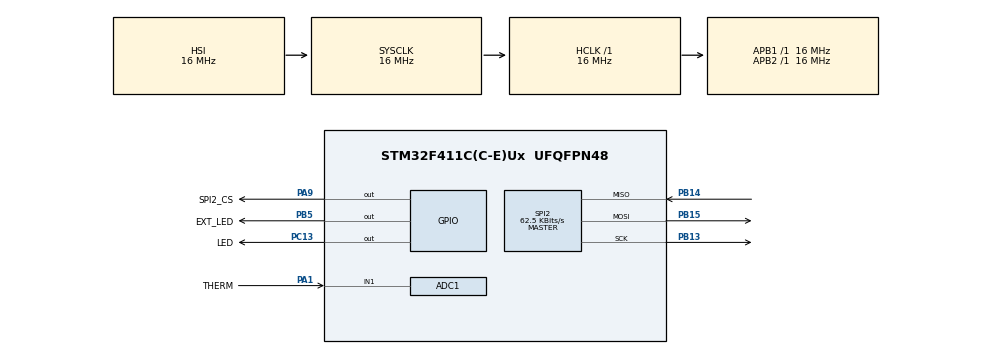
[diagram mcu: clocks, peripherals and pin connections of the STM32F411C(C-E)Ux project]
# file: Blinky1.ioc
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ADC1.Channel-0\#ChannelRegularConversion=ADC_CHANNEL_1
ADC1.NbrOfConversionFlag=1
ADC1.Rank-0\#ChannelRegularConversion=1
ADC1.SamplingTime-0\#ChannelRegularConversion=ADC_SAMPLETIME_3CYCLES
ADC1.master=1
Mcu.Family=STM32F4
Mcu.Name=STM32F411C(C-E)Ux
Mcu.Package=UFQFPN48
NVIC.PriorityGroup=NVIC_PRIORITYGROUP_4
PA1.GPIO_Label=THERM
PA1.Signal=ADCx_IN1
PA9.GPIO_Label=SPI2_CS
PA9.GPIO_PuPd=GPIO_PULLUP
PA9.PinState=GPIO_PIN_SET
PA9.Signal=GPIO_Output
PB13.Mode=Full_Duplex_Master
PB13.Signal=SPI2_SCK
PB14.GPIO_PuPd=GPIO_PULLUP
PB14.Mode=Full_Duplex_Master
PB14.Signal=SPI2_MISO
PB15.Mode=Full_Duplex_Master
PB15.Signal=SPI2_MOSI
PB5.GPIO_Label=EXT_LED
PB5.Signal=GPIO_Output
PC13-ANTI_TAMP.GPIO_Label=LED
PC13-ANTI_TAMP.Signal=GPIO_Output
ProjectManager.HeapSize=0x200
ProjectManager.StackSize=0x400
ProjectManager.TargetToolchain=CMake
RCC.AHBFreq_Value=16000000
RCC.APB1Freq_Value=16000000
RCC.APB2Freq_Value=16000000
RCC.CortexFreq_Value=16000000
RCC.HSE_VALUE=25000000
RCC.HSI_VALUE=16000000
RCC.LSE_VALUE=32768
RCC.SYSCLKFreq_VALUE=16000000
RCC.VCOOutputFreq_Value=192000000
SH.ADCx_IN1.0=ADC1_IN1,IN1
SPI2.BaudRatePrescaler=SPI_BAUDRATEPRESCALER_256
SPI2.CalculateBaudRate=62.5 KBits/s
SPI2.Direction=SPI_DIRECTION_2LINES
SPI2.Mode=SPI_MODE_MASTER
SPI2.VirtualType=VM_MASTER
VP_FATFS_VS_Generic.Mode=User_defined
board=custom

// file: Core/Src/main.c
/* USER CODE BEGIN Header */
/**
  ******************************************************************************
  * @file           : main.c
  * @brief          : Main program body
  ******************************************************************************
  * @attention
  *
  * Copyright (c) 2026 STMicroelectronics.
  * All rights reserved.
  *
  * This software is licensed under terms that can be found in the LICENSE file
  * in the root directory of this software component.
  * If no LICENSE file comes with this software, it is provided AS-IS.
  *
  ******************************************************************************
  */
/* USER CODE END Header */
#include "main.h"
#include "fatfs.h"

/* USER CODE BEGIN Includes */
#include <stdio.h>
#include "led_ext.h"
#include "thermistor.h"
extern void initialise_monitor_handles(void);

#include <stdio.h>
#include <string.h>
#include <stdarg.h>
/* USER CODE END Includes */

ADC_HandleTypeDef hadc1;

SPI_HandleTypeDef hspi2;

/* USER CODE BEGIN PV */
LedExt_HandleTypeDef extLed;
LedExt_HandleTypeDef onboardLed;
Thermistor_HandleTypeDef therm;

FATFS fs;           // Work area (file system object)
FIL fil;            // File object
FRESULT fresult;    // File function return code
UINT bw, br;        // File write/read byte counts
char read_buf[64];  // Buffer for reading back data

/* USER CODE END PV */

void SystemClock_Config(void);
static void MX_GPIO_Init(void);
static void MX_ADC1_Init(void);
static void MX_SPI2_Init(void);
/* USER CODE BEGIN PFP */
void myprintf(const char *fmt, ...);
/* USER CODE END PFP */

/* USER CODE BEGIN 0 */
void myprintf(const char *fmt, ...) {
  static char buffer[256];
  va_list args;
  va_start(args, fmt);
  vsnprintf(buffer, sizeof(buffer), fmt, args);
  va_end(args);

  printf("%s", buffer);
  fflush(stdout);
}
/* USER CODE END 0 */

int main(void)
{

  /* USER CODE BEGIN 1 */
  initialise_monitor_handles();
  /* USER CODE END 1 */

  /* MCU Configuration--------------------------------------------------------*/

  /* Reset of all peripherals, Initializes the Flash interface and the Systick. */
  HAL_Init();

  /* Configure the system clock */
  SystemClock_Config();

  /* Initialize all configured peripherals */
  MX_GPIO_Init();
  MX_ADC1_Init();
  MX_SPI2_Init();
  MX_FATFS_Init();
  /* USER CODE BEGIN 2 */
  LedExt_Init(&extLed, EXT_LED_GPIO_Port, EXT_LED_Pin, 250);   /* toggles every 250ms */
  LedExt_Init(&onboardLed, LED_GPIO_Port, LED_Pin, 500);       /* toggles every 500ms */
  //Thermistor_Init(&therm, &hadc1, 1000); /* read once per second */
  /* USER CODE END 2 */

  /* Infinite loop */
  /* USER CODE BEGIN WHILE */
  while (1)
  {
    //LedExt_Update(&extLed);
    //LedExt_Update(&onboardLed);
    //Thermistor_Update(&therm);
    HAL_GPIO_TogglePin(LED_GPIO_Port, LED_Pin);
    HAL_GPIO_TogglePin(EXT_LED_GPIO_Port, EXT_LED_Pin);
    printf("Hello World\n");
    HAL_Delay(1000);
    /* USER CODE END WHILE */

    /* USER CODE BEGIN 3 */
  myprintf("\r\n~ SD card demo by kiwih ~\r\n\r\n");

  HAL_Delay(1000); //a short delay is important to let the SD card settle

  //some variables for FatFs
  FATFS FatFs; 	//Fatfs handle
  FIL fil; 		//File handle
  FRESULT fres; //Result after operations

  //Open the file system
  fres = f_mount(&FatFs, "", 1); //1=mount now
  if (fres != FR_OK) {
    myprintf("f_mount error (%i)\r\n", fres);
    while(1);
  }

  //Let's get some statistics from the SD card
  DWORD free_clusters, free_sectors, total_sectors;

  FATFS* getFreeFs;

  fres = f_getfree("", &free_clusters, &getFreeFs);
  if (fres != FR_OK) {
  myprintf("f_getfree error (%i)\r\n", fres);
  while(1);
  }

  //Formula comes from ChaN's documentation
  total_sectors = (getFreeFs->n_fatent - 2) * getFreeFs->csize;
  free_sectors = free_clusters * getFreeFs->csize;

  myprintf("SD card stats:\r\n%10lu KiB total drive space.\r\n%10lu KiB available.\r\n", total_sectors / 2, free_sectors / 2);

  //Now let's try to open file "test.txt"
  fres = f_open(&fil, "test.txt", FA_READ);
  if (fres != FR_OK) {
  myprintf("f_open error (%i)\r\n", fres);
  while(1);
  }
  myprintf("I was able to open 'test.txt' for reading!\r\n");

  //Read 30 bytes from "test.txt" on the SD card
  BYTE readBuf[30];

  //We can either use f_read OR f_gets to get data out of files
  //f_gets is a wrapper on f_read that does some string formatting for us
  TCHAR* rres = f_gets((TCHAR*)readBuf, 30, &fil);
  if(rres != 0) {
  myprintf("Read string from 'test.txt' contents: %s\r\n", readBuf);
  } else {
  myprintf("f_gets error (%i)\r\n", fres);
  }

  //Be a tidy kiwi - don't forget to close your file!
  f_close(&fil);

  //We're done, so de-mount the drive
  f_mount(NULL, "", 0);
  /* USER CODE END 3 */
}
}
void SystemClock_Config(void)
{
  RCC_OscInitTypeDef RCC_OscInitStruct = {0};
  RCC_ClkInitTypeDef RCC_ClkInitStruct = {0};

  /** Configure the main internal regulator output voltage
  */
  __HAL_RCC_PWR_CLK_ENABLE();
  __HAL_PWR_VOLTAGESCALING_CONFIG(PWR_REGULATOR_VOLTAGE_SCALE1);

  /** Initializes the RCC Oscillators according to the specified parameters
  * in the RCC_OscInitTypeDef structure.
  */
  RCC_OscInitStruct.OscillatorType = RCC_OSCILLATORTYPE_HSI;
  RCC_OscInitStruct.HSIState = RCC_HSI_ON;
  RCC_OscInitStruct.HSICalibrationValue = RCC_HSICALIBRATION_DEFAULT;
  RCC_OscInitStruct.PLL.PLLState = RCC_PLL_NONE;
  if (HAL_RCC_OscConfig(&RCC_OscInitStruct) != HAL_OK)
  {
    Error_Handler();
  }

  /** Initializes the CPU, AHB and APB buses clocks
  */
  RCC_ClkInitStruct.ClockType = RCC_CLOCKTYPE_HCLK|RCC_CLOCKTYPE_SYSCLK
                              |RCC_CLOCKTYPE_PCLK1|RCC_CLOCKTYPE_PCLK2;
  RCC_ClkInitStruct.SYSCLKSource = RCC_SYSCLKSOURCE_HSI;
  RCC_ClkInitStruct.AHBCLKDivider = RCC_SYSCLK_DIV1;
  RCC_ClkInitStruct.APB1CLKDivider = RCC_HCLK_DIV1;
  RCC_ClkInitStruct.APB2CLKDivider = RCC_HCLK_DIV1;

  if (HAL_RCC_ClockConfig(&RCC_ClkInitStruct, FLASH_LATENCY_0) != HAL_OK)
  {
    Error_Handler();
  }
}

static void MX_ADC1_Init(void)
{

  ADC_ChannelConfTypeDef sConfig = {0};

  /** Configure the global features of the ADC (Clock, Resolution, Data Alignment and number of conversion)
  */
  hadc1.Instance = ADC1;
  hadc1.Init.ClockPrescaler = ADC_CLOCK_SYNC_PCLK_DIV2;
  hadc1.Init.Resolution = ADC_RESOLUTION_12B;
  hadc1.Init.ScanConvMode = DISABLE;
  hadc1.Init.ContinuousConvMode = DISABLE;
  hadc1.Init.DiscontinuousConvMode = DISABLE;
  hadc1.Init.ExternalTrigConvEdge = ADC_EXTERNALTRIGCONVEDGE_NONE;
  hadc1.Init.ExternalTrigConv = ADC_SOFTWARE_START;
  hadc1.Init.DataAlign = ADC_DATAALIGN_RIGHT;
  hadc1.Init.NbrOfConversion = 1;
  hadc1.Init.DMAContinuousRequests = DISABLE;
  hadc1.Init.EOCSelection = ADC_EOC_SINGLE_CONV;
  if (HAL_ADC_Init(&hadc1) != HAL_OK)
  {
    Error_Handler();
  }

  /** Configure for the selected ADC regular channel its corresponding rank in the sequencer and its sample time.
  */
  sConfig.Channel = ADC_CHANNEL_1;
  sConfig.Rank = 1;
  sConfig.SamplingTime = ADC_SAMPLETIME_3CYCLES;
  if (HAL_ADC_ConfigChannel(&hadc1, &sConfig) != HAL_OK)
  {
    Error_Handler();
  }

}

static void MX_SPI2_Init(void)
{

  /* SPI2 parameter configuration*/
  hspi2.Instance = SPI2;
  hspi2.Init.Mode = SPI_MODE_MASTER;
  hspi2.Init.Direction = SPI_DIRECTION_2LINES;
  hspi2.Init.DataSize = SPI_DATASIZE_8BIT;
  hspi2.Init.CLKPolarity = SPI_POLARITY_LOW;
  hspi2.Init.CLKPhase = SPI_PHASE_1EDGE;
  hspi2.Init.NSS = SPI_NSS_SOFT;
  hspi2.Init.BaudRatePrescaler = SPI_BAUDRATEPRESCALER_256;
  hspi2.Init.FirstBit = SPI_FIRSTBIT_MSB;
  hspi2.Init.TIMode = SPI_TIMODE_DISABLE;
  hspi2.Init.CRCCalculation = SPI_CRCCALCULATION_DISABLE;
  hspi2.Init.CRCPolynomial = 10;
  if (HAL_SPI_Init(&hspi2) != HAL_OK)
  {
    Error_Handler();
  }

}

static void MX_GPIO_Init(void)
{
  GPIO_InitTypeDef GPIO_InitStruct = {0};

  /* GPIO Ports Clock Enable */
  __HAL_RCC_GPIOC_CLK_ENABLE();
  __HAL_RCC_GPIOA_CLK_ENABLE();
  __HAL_RCC_GPIOB_CLK_ENABLE();

  /*Configure GPIO pin Output Level */
  HAL_GPIO_WritePin(LED_GPIO_Port, LED_Pin, GPIO_PIN_RESET);

  /*Configure GPIO pin Output Level */
  HAL_GPIO_WritePin(SPI2_CS_GPIO_Port, SPI2_CS_Pin, GPIO_PIN_SET);

  /*Configure GPIO pin Output Level */
  HAL_GPIO_WritePin(EXT_LED_GPIO_Port, EXT_LED_Pin, GPIO_PIN_RESET);

  /*Configure GPIO pin : LED_Pin */
  GPIO_InitStruct.Pin = LED_Pin;
  GPIO_InitStruct.Mode = GPIO_MODE_OUTPUT_PP;
  GPIO_InitStruct.Pull = GPIO_NOPULL;
  GPIO_InitStruct.Speed = GPIO_SPEED_FREQ_LOW;
  HAL_GPIO_Init(LED_GPIO_Port, &GPIO_InitStruct);

  /*Configure GPIO pin : SPI2_CS_Pin */
  GPIO_InitStruct.Pin = SPI2_CS_Pin;
  GPIO_InitStruct.Mode = GPIO_MODE_OUTPUT_PP;
  GPIO_InitStruct.Pull = GPIO_PULLUP;
  GPIO_InitStruct.Speed = GPIO_SPEED_FREQ_LOW;
  HAL_GPIO_Init(SPI2_CS_GPIO_Port, &GPIO_InitStruct);

  /*Configure GPIO pin : EXT_LED_Pin */
  GPIO_InitStruct.Pin = EXT_LED_Pin;
  GPIO_InitStruct.Mode = GPIO_MODE_OUTPUT_PP;
  GPIO_InitStruct.Pull = GPIO_NOPULL;
  GPIO_InitStruct.Speed = GPIO_SPEED_FREQ_LOW;
  HAL_GPIO_Init(EXT_LED_GPIO_Port, &GPIO_InitStruct);

}

void Error_Handler(void)
{
  __disable_irq();
  while (1)
  {
  }
}
